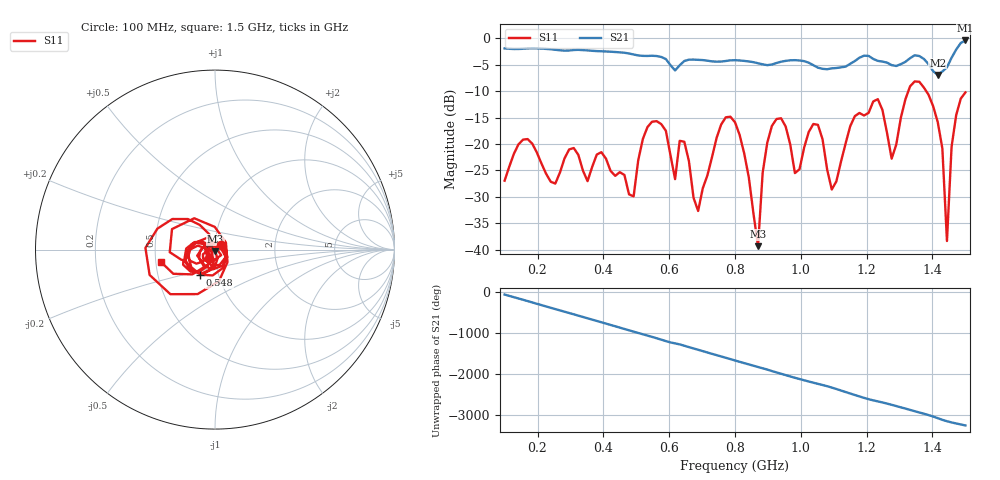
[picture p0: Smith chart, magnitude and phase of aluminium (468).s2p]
! NanoVNA-App
! Date: 2025-09-25 14:58:55
! Start: 100MHz Stop: 1,5GHz Points: 101
! S-Parameter data: F S11 S21 S12 S22
# Hz S RI R 50
!  Frequency  S11_Real  S11_Imag  S21_Real  S21_Imag  S12_Real  S12_Imag  S22_Real  S22_Imag
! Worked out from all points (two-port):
!   101 points, 100 MHz to 1.5 GHz, reference 50 ohm
!   highest |S21| = -0.41 dB at 1.5 GHz (marker M1); lowest = -6.9 dB at 1.416 GHz (marker M2)
!   |S21| within 3 dB of the highest: start of sweep to 566 MHz; 1.461 GHz to end of sweep (the widest 2 of 4)
!   lowest |S11| = -39.4 dB at 870 MHz (marker M3), VSWR 1.02, Z = 50.2 - j1.06 ohm
!   |S11| at or under -10 dB: start of sweep to 1.327 GHz; 1.381 GHz to end of sweep
!   S12 and S22 are empty: the file has one direction only
!   S11 on the Smith chart (normalised r, x): 100 MHz: 1.07, +0.06; 548 MHz: 0.82, -0.24; 1.5 GHz: 0.53, -0.08
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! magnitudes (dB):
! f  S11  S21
! 100 MHz  -27.0  -1.9
! 156 MHz  -19.2  -2.0
! 338 MHz  -25.0  -2.2
! 492 MHz  -29.9  -3.1
! 548 MHz  -15.8  -3.3
! 576 MHz  -16.3  -3.5
! 618 MHz  -26.7  -6.1
! 646 MHz  -19.6  -4.3
! 688 MHz  -32.7  -4.1
! 800 MHz  -15.9  -4.1
! 870 MHz  -39.4  -4.7
! 912 MHz  -16.6  -5.0
! 982 MHz  -25.5  -4.1
! 1.038 GHz  -16.2  -5.1
! 1.094 GHz  -28.6  -5.7
! 1.22 GHz  -12.0  -3.9
! 1.276 GHz  -22.8  -5.1
! 1.346 GHz  -8.2  -3.2
! 1.416 GHz  -15.9  -6.9
! 1.444 GHz  -38.4  -5.5
! 1.458 GHz  -20.6  -3.7
! 1.5 GHz  -10.2  -0.4
